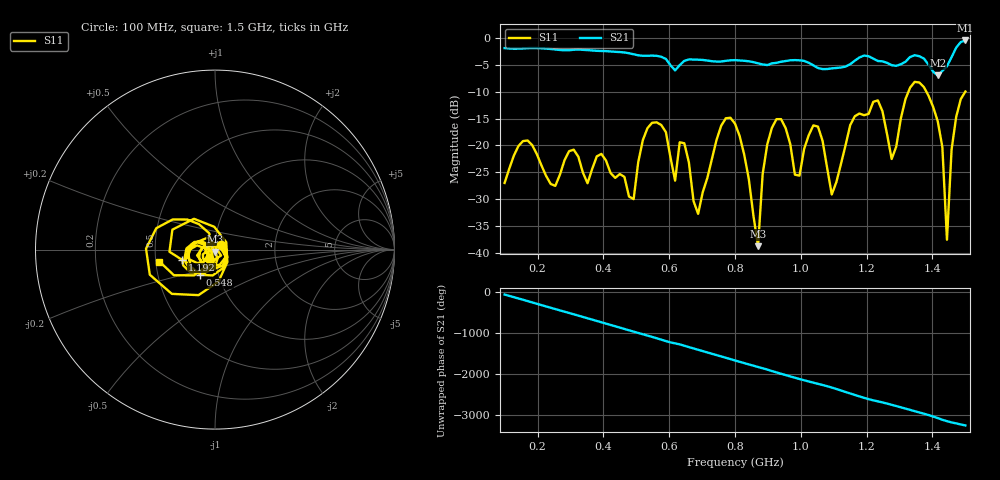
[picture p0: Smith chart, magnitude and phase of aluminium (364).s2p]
! NanoVNA-App
! Date: 2025-09-25 14:58:07
! Start: 100MHz Stop: 1,5GHz Points: 101
! S-Parameter data: F S11 S21 S12 S22
# Hz S RI R 50
!  Frequency  S11_Real  S11_Imag  S21_Real  S21_Imag  S12_Real  S12_Imag  S22_Real  S22_Imag
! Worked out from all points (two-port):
!   101 points, 100 MHz to 1.5 GHz, reference 50 ohm
!   highest |S21| = -0.50 dB at 1.5 GHz (marker M1); lowest = -7.0 dB at 1.416 GHz (marker M2)
!   |S21| within 3 dB of the highest: start of sweep to 573.4 MHz; 1.459 GHz to end of sweep (the widest 2 of 4)
!   lowest |S11| = -38.7 dB at 870 MHz (marker M3), VSWR 1.02, Z = 50.2 - j1.14 ohm
!   |S11| at or under -10 dB: start of sweep to 1.327 GHz; 1.381 GHz to 1.5 GHz (118.6 MHz wide, 8.23 % of centre)
!   S12 and S22 are empty: the file has one direction only
!   S11 on the Smith chart (normalised r, x): 100 MHz: 1.07, +0.06; 548 MHz: 0.82, -0.24; 1.192 GHz: 0.69, -0.08; 1.5 GHz: 0.52, -0.08
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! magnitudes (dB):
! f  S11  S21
! 100 MHz  -27.0  -1.9
! 156 MHz  -19.2  -2.0
! 338 MHz  -25.1  -2.2
! 492 MHz  -30.0  -3.1
! 548 MHz  -15.8  -3.3
! 576 MHz  -16.2  -3.5
! 618 MHz  -26.5  -6.1
! 646 MHz  -19.6  -4.3
! 688 MHz  -32.7  -4.1
! 800 MHz  -15.9  -4.2
! 870 MHz  -38.7  -4.7
! 912 MHz  -16.7  -4.8
! 996 MHz  -25.6  -4.2
! 1.038 GHz  -16.3  -5.1
! 1.094 GHz  -29.1  -5.7
! 1.192 GHz  -14.4  -3.3
! 1.276 GHz  -22.5  -5.1
! 1.346 GHz  -8.2  -3.2
! 1.416 GHz  -15.5  -7.0
! 1.444 GHz  -37.5  -5.3
! 1.458 GHz  -20.8  -3.6
! 1.5 GHz  -10.0  -0.5
